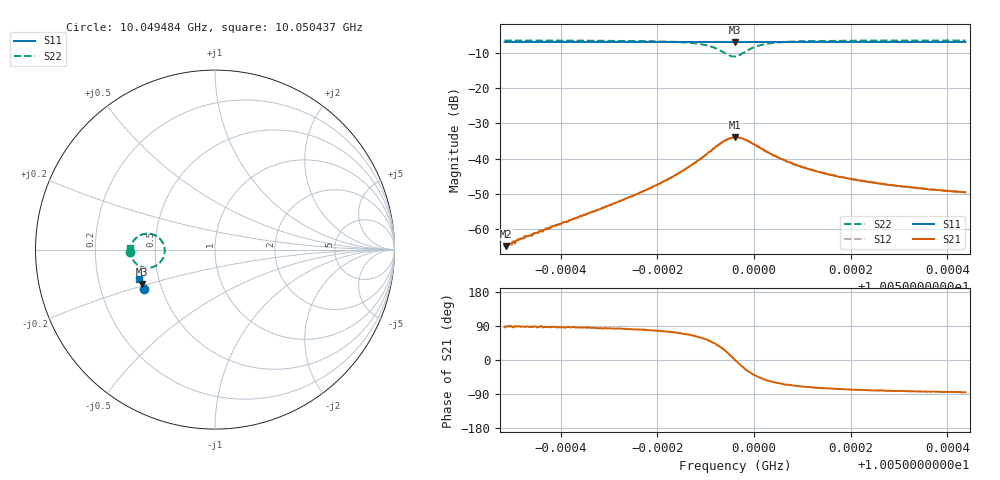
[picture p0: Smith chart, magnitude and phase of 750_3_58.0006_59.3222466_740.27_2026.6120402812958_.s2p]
#  HZ  S  RI  R  50.00
! Rohde & Schwarz Vector Network Analyzer
! Rohde-Schwarz,ZNB20-2Port,1311601062101988,3.16
! Created: UTC 3/21/2024, 1:23:58 AM
! freq[Hz]  re:S11  im:S11  re:S21  im:S21  re:S12  im:S12  re:S22  im:S22
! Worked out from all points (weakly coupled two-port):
!   401 points, 10.049484 GHz to 10.050437 GHz, reference 50 ohm
!   highest |S21| = -33.88 dB at 10.049961 GHz (marker M1); lowest = -64.8 dB at 10.049487 GHz (marker M2)
!   lowest |S11| = -6.9 dB at 10.049961 GHz (marker M3), VSWR 2.64, Z = 19.7 - j9.52 ohm
!   |S11| at or under -10 dB: nowhere
!   |S22| runs from -11.0 to -6.5 dB; largest |S21 - S12| = 0.0018
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1.00494841e10  -0.3963 -0.2211  3.58e-05 0.000578  -3.41e-05 0.000609  -0.474 -0.0141
1.00494865e10  -0.3964 -0.221  5.63e-06 0.000577  -4.67e-06 0.00058  -0.4739 -0.0137
1.00495032e10  -0.3969 -0.22  4.81e-05 0.000663  -4.11e-05 0.000686  -0.4737 -0.012
1.00495151e10  -0.3973 -0.2192  1.01e-05 0.000719  -1.6e-05 0.00074  -0.4737 -0.0107
1.00495318e10  -0.3978 -0.2183  2.34e-05 0.000805  -2.98e-05 0.00079  -0.4736 -0.00883
1.00496437e10  -0.4011 -0.2115  0.000119 0.00153  4.19e-05 0.00155  -0.4717 0.00568
1.0049739e10  -0.4039 -0.2056  0.000424 0.00278  0.000253 0.00277  -0.467 0.0232
1.00498034e10  -0.4057 -0.2017  0.000998 0.0043  0.000793 0.00433  -0.4589 0.0411
1.00498605e10  -0.4071 -0.1981  0.00276 0.00677  0.00231 0.00691  -0.4384 0.0659
1.00498939e10  -0.4078 -0.1957  0.00568 0.0089  0.0051 0.00912  -0.4076 0.0838
1.00499177e10  -0.4078 -0.1941  0.0102 0.00997  0.00933 0.0103  -0.3647 0.0888
1.00499415e10  -0.4078 -0.1927  0.0169 0.00718  0.0161 0.00836  -0.304 0.057
1.00499606e10  -0.4077 -0.1922  0.0202 -1.84e-07  0.0199 0.00176  -0.2804 -0.0125
1.00499725e10  -0.408 -0.1922  0.0192 -0.00469  0.0195 -0.00304  -0.2952 -0.0578
1.00499868e10  -0.4086 -0.1917  0.0157 -0.00867  0.0165 -0.00733  -0.3321 -0.0912
1.00500035e10  -0.4094 -0.191  0.0117 -0.0103  0.0125 -0.00949  -0.3751 -0.1019
1.00500225e10  -0.4105 -0.1899  0.00803 -0.0101  0.00888 -0.00972  -0.4101 -0.0954
1.00500773e10  -0.4124 -0.1864  0.00351 -0.00795  0.00396 -0.0078  -0.4528 -0.0636
1.00501202e10  -0.4136 -0.1839  0.0021 -0.00658  0.00254 -0.00649  -0.4637 -0.0456
1.00501988e10  -0.4157 -0.1789  0.00107 -0.00508  0.00137 -0.00508  -0.4711 -0.0241
1.00502798e10  -0.4177 -0.174  0.000637 -0.00419  0.000905 -0.00421  -0.4736 -0.00973
1.00504371e10  -0.4214 -0.1642  0.000274 -0.00333  0.000458 -0.00336  -0.4749 0.00947
